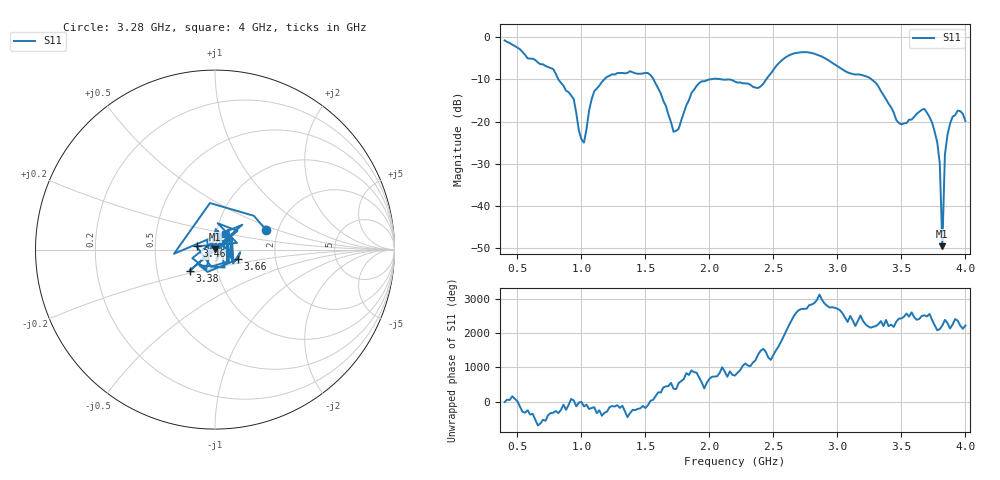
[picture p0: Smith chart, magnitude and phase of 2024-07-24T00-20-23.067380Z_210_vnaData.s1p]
!Created with skrf (http://scikit-rf.org).
# Hz S RI R 50.0
!freq ReS11 ImS11
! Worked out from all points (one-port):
!   181 points, 400 MHz to 4 GHz, reference 50 ohm
!   lowest |S11| = -49.5 dB at 3.82 GHz (marker M1), VSWR 1.01, Z = 50.2 + j0.296 ohm
!   |S11| at or under -10 dB: 819.8 MHz to 1.179 GHz (358.8 MHz wide, 35.9 % of centre); 1.564 GHz to 2.001 GHz (437.4 MHz wide, 24.5 % of centre); 3.267 GHz to end of sweep (the widest 3 of 4)
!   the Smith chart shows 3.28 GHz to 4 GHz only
!   S11 on the Smith chart (normalised r, x): 3.28 GHz: 1.73, +0.42; 3.38 GHz: 0.73, -0.18; 3.46 GHz: 0.81, +0.03; 3.66 GHz: 1.28, -0.14; 4 GHz: 1.09, +0.19
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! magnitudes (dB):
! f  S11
! 400 MHz  -0.8
! 860 MHz  -11.5
! 940 MHz  -14.7
! 980 MHz  -22.1
! 1.02 GHz  -25.0
! 1.1 GHz  -12.8
! 1.3 GHz  -8.5
! 1.54 GHz  -9.0
! 1.72 GHz  -22.4
! 1.76 GHz  -21.7
! 1.92 GHz  -10.9
! 2.2 GHz  -10.5
! 2.38 GHz  -12.1
! 2.66 GHz  -3.9
! 3.1 GHz  -8.5
! 3.28 GHz  -10.3
! 3.38 GHz  -14.7
! 3.46 GHz  -19.6
! 3.56 GHz  -19.5
! 3.66 GHz  -17.2
! 3.72 GHz  -18.9
! 3.78 GHz  -24.9
! 3.8 GHz  -29.9
! 3.82 GHz  -49.5
! 3.84 GHz  -27.8
! 3.86 GHz  -23.2
! 3.94 GHz  -17.4
! 4 GHz  -19.9
